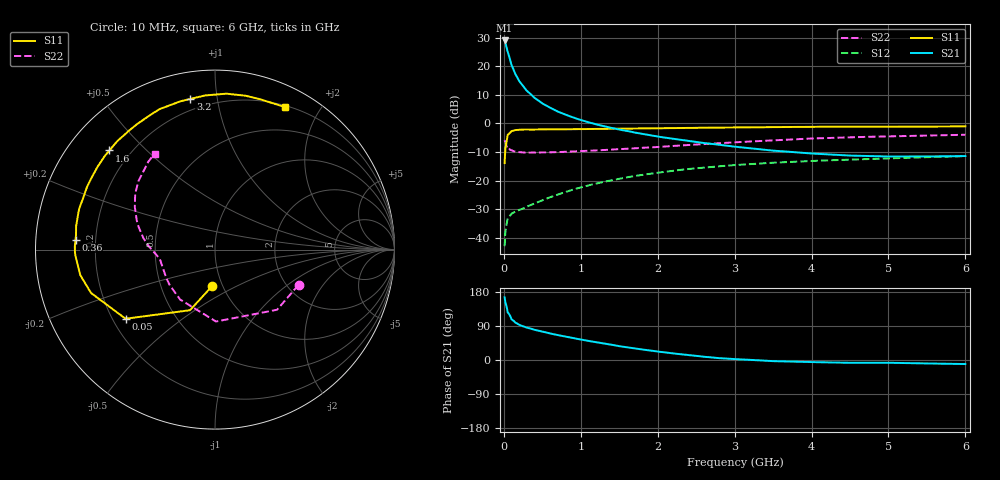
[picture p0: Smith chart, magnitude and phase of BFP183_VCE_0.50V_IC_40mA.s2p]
! Infineon Technologies  Discrete & RF Semiconductors
! BFP183
! VCE = 0.50V,  IC =  40 mA
! Common Emitter S-Parameters:  Jan 2016
# GHz  S  MA  R  50
!  f  S11  S21  S12  S22
! GHz  MAG  ANG  MAG  ANG  MAG  ANG  MAG  ANG
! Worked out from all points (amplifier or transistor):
!   210 points, 10 MHz to 6 GHz, reference 50 ohm
!   highest |S21| = 29.0 dB at 10 MHz (marker M1)
!   |S21| within 3 dB of that: start of sweep to 40.17 MHz
!   unconditionally stable (mu >= 1): start of sweep to 22.48 MHz; 157.4 MHz to end of sweep
!   at 185 MHz: K = 1.11, MAG = 21.0 dB, |S12| = -30.5 dB
!   at 1.52 GHz: K = 2.05, MAG = 2.7 dB, |S12| = -19.3 dB
!   at 6 GHz: K = 1.48, MAG = -4.1 dB, |S12| = -11.5 dB
!   S11 on the Smith chart (normalised r, x): 10 MHz: 0.90, -0.38; 50 MHz: 0.25, -0.32; 360 MHz: 0.12, +0.04; 1.6 GHz: 0.12, +0.39; 3.2 GHz: 0.14, +0.84; 6 GHz: 0.22, +1.59
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0.01  0.2016 -94.0  28.19 165.3  0.0071 64.9  0.5052 -22.9
0.02  0.3652 -112.4  25.95 152.2  0.0125 60.4  0.4816 -44.1
0.05  0.6298 -142.3  17.82 125.8  0.0218 43.0  0.4007 -89.2
0.1  0.7316 -160.7  10.45 107.3  0.0263 33.2  0.3394 -124.8
0.15  0.764 -169.3  7.233 98.5  0.0286 32.8  0.3212 -141.4
0.2  0.7708 -174.3  5.493 93.0  0.0306 35.3  0.3138 -150.4
0.24  0.7781 -177.4  4.642 89.7  0.0319 36.9  0.3097 -154.6
0.3  0.7813 178.8  3.699 85.3  0.035 40.7  0.3078 -159.6
0.36  0.779 175.9  3.144 82.3  0.0377 43.6  0.3081 -162.5
0.4  0.7786 174.0  2.781 79.6  0.0396 45.3  0.3087 -164.4
0.5  0.7849 170.4  2.232 74.6  0.0451 47.9  0.3093 -167.4
0.6  0.7869 166.6  1.883 69.9  0.0509 50.6  0.311 -169.6
0.8  0.7883 159.9  1.416 61.6  0.0628 52.7  0.3178 -172.4
1.02  0.7943 153.2  1.123 53.4  0.077 53.4  0.3279 -175.0
1.3  0.8007 145.3  0.891 43.3  0.0947 52.2  0.3414 -177.9
1.6  0.807 136.8  0.739 33.5  0.1137 49.9  0.359 178.9
2.02  0.8179 125.7  0.582 21.8  0.138 45.1  0.3869 173.8
3.1  0.849 101.2  0.379 1.5  0.1897 31.1  0.4737 157.7
3.2  0.8505 99.3  0.367 0.4  0.1933 29.8  0.4812 156.2
4.1  0.8706 84.4  0.292 -5.9  0.2226 19.0  0.5482 143.6
5.1  0.8746 72.3  0.263 -7.7  0.2466 9.3  0.5967 131.0
6  0.8849 63.7  0.268 -10.7  0.2667 -0.2  0.6315 122.2
